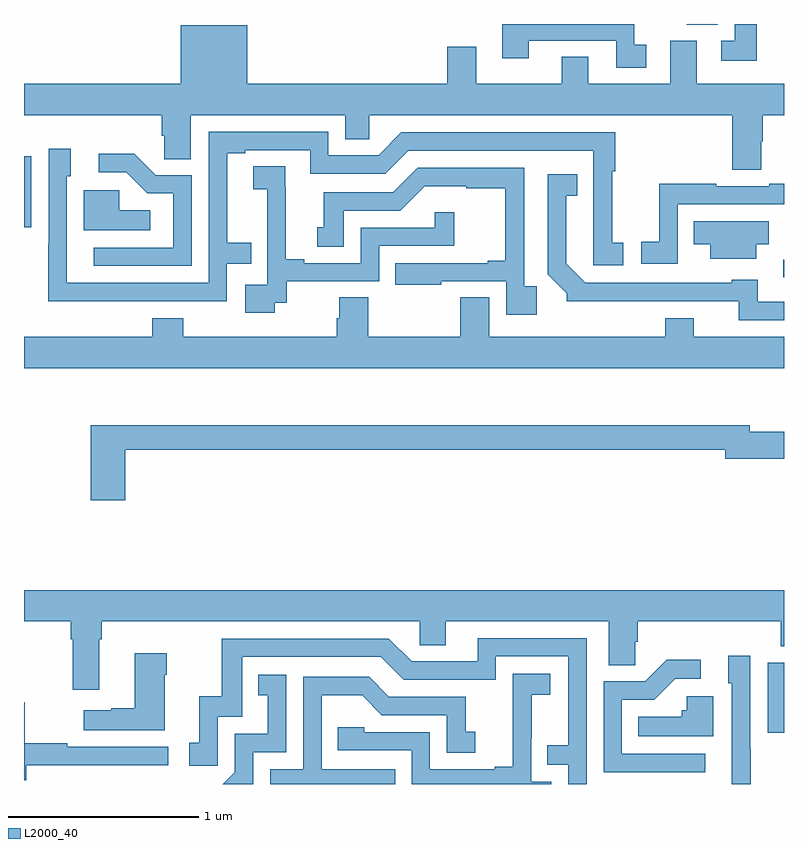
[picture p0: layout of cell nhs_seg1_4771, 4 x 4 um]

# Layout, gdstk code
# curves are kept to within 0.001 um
import gdstk
lib = gdstk.Library(unit=1e-6, precision=1e-09)
def R(c, l, rs):  # rectangles x0, y0, x1, y1
    for r in rs: c.add(gdstk.rectangle(r[:2], r[2:], *l))
def P(c, l, *ps):  # polygons
    for p in ps: c.add(gdstk.Polygon(p, *l))
L2000_40 = (2000, 40)

nhs_seg1_4771 = lib.new_cell('nhs_seg1_4771')
R(nhs_seg1_4771, L2000_40, [(372.915,560.469,373,560.838), (372.995,562.865,373,562.959), (369,563.13,369.039,563.502), (372.488,564.196,372.652,564.199)])
P(nhs_seg1_4771, L2000_40, [(372.857,564.199),(372.741,564.199),(372.741,564.111),(372.669,564.111),(372.669,564.006),(372.857,564.006)],
  [(372.274,564.09),(372.213,564.09),(372.213,564.199),(371.516,564.199),(371.516,564.018),(371.656,564.018),(371.656,564.111),(372.116,564.111),(372.116,563.97),(372.274,563.97)],
  [(372.88,563.582),(372.888,563.582),(372.888,563.72),(373,563.72),(373,563.884),(372.541,563.884),(372.541,564.111),(372.401,564.111),(372.401,563.884),(371.971,563.884),(371.971,564.026),(371.831,564.026),(371.831,563.884),(371.38,563.884),(371.38,564.079),(371.228,564.079),(371.228,563.884),(370.174,563.884),(370.174,564.193),(369.824,564.193),(369.824,563.884),(369,563.884),(369,563.72),(369.725,563.72),(369.725,563.611),(369.738,563.611),(369.738,563.488),(369.877,563.488),(369.877,563.72),(370.691,563.72),(370.691,563.593),(370.818,563.593),(370.818,563.72),(372.728,563.72),(372.728,563.431),(372.88,563.431)],
  [(369.59,562.74),(370.068,562.74),(370.068,562.938),(370.196,562.938),(370.196,563.047),(370.069,563.047),(370.069,563.52),(370.165,563.52),(370.165,563.535),(370.506,563.535),(370.506,563.412),(370.902,563.412),(371.022,563.532),(371.997,563.532),(371.996,562.929),(372.154,562.929),(372.154,563.049),(372.096,563.049),(372.096,563.425),(372.113,563.425),(372.113,563.628),(370.986,563.628),(370.866,563.508),(370.602,563.508),(370.602,563.631),(369.972,563.631),(369.972,562.836),(369.225,562.836),(369.225,563.397),(369.247,563.397),(369.247,563.542),(369.129,563.542),(369.128,562.739)],
  [(369.882,563.403),(369.693,563.403),(369.58,563.516),(369.393,563.516),(369.393,563.418),(369.537,563.418),(369.648,563.307),(369.786,563.307),(369.786,563.022),(369.366,563.022),(369.366,562.926),(369.882,562.926)],
  [(370.32,562.731),(370.382,562.731),(370.382,562.845),(370.869,562.845),(370.869,563.031),(371.264,563.031),(371.264,563.209),(371.163,563.209),(371.163,563.127),(370.773,563.127),(370.773,562.941),(370.474,562.941),(370.474,562.961),(370.378,562.961),(370.378,563.339),(370.376,563.339),(370.376,563.45),(370.206,563.45),(370.206,563.329),(370.28,563.329),(370.28,563.131),(370.281,563.131),(370.281,562.827),(370.164,562.827),(370.164,562.68),(370.32,562.68)],
  [(371.699,562.819),(371.634,562.819),(371.634,563.442),(371.073,563.442),(370.944,563.313),(370.577,563.313),(370.577,563.13),(370.544,563.13),(370.544,563.026),(370.684,563.026),(370.684,563.217),(370.98,563.217),(371.108,563.345),(371.327,563.345),(371.327,563.334),(371.533,563.334),(371.533,562.954),(371.441,562.954),(371.441,562.941),(370.954,562.941),(370.954,562.826),(371.197,562.826),(371.197,562.845),(371.538,562.845),(371.538,562.668),(371.699,562.668)],
  [(373,562.737),(372.862,562.737),(372.862,562.852),(372.726,562.852),(372.726,562.836),(371.955,562.836),(371.854,562.937),(371.854,563.294),(371.912,563.294),(371.912,563.407),(371.757,563.407),(371.757,562.882),(371.856,562.783),(371.856,562.739),(372.763,562.74),(372.763,562.641),(373,562.641)],
  [(372.441,563.25),(373,563.25),(373,563.359),(372.923,563.359),(372.923,563.346),(372.644,563.346),(372.644,563.359),(372.343,563.359),(372.343,563.054),(372.249,563.054),(372.249,562.938),(372.441,562.938)],
  [(369.664,563.218),(369.501,563.218),(369.501,563.325),(369.314,563.325),(369.314,563.114),(369.664,563.114)],
  [(372.853,563.039),(372.919,563.039),(372.919,563.161),(372.526,563.161),(372.526,563.039),(372.611,563.039),(372.611,562.964),(372.853,562.964)],
  [(373,562.552),(372.526,562.552),(372.526,562.651),(372.374,562.651),(372.374,562.552),(371.449,562.552),(371.449,562.76),(371.297,562.76),(371.297,562.552),(370.811,562.552),(370.811,562.76),(370.658,562.76),(370.658,562.65),(370.646,562.65),(370.646,562.552),(369.839,562.552),(369.839,562.651),(369.674,562.651),(369.674,562.552),(369,562.552),(369,562.388),(373,562.388)],
  [(369.533,561.958),(372.692,561.958),(372.692,561.911),(373,561.911),(373,562.053),(372.82,562.053),(372.82,562.087),(369.35,562.087),(369.35,561.693),(369.533,561.693)],
  [(369.397,560.96),(369.41,560.96),(369.41,561.056),(371.082,561.056),(371.082,560.929),(371.221,560.929),(371.221,561.056),(372.077,561.056),(372.077,560.824),(372.216,560.824),(372.216,560.947),(372.23,560.947),(372.23,561.056),(372.983,561.056),(372.983,560.923),(373,560.923),(373,561.22),(369,561.22),(369,561.056),(369.245,561.056),(369.245,560.96),(369.257,560.96),(369.257,560.694),(369.397,560.694)],
  [(371.961,560.967),(371.387,560.967),(371.387,560.844),(371.04,560.844),(370.92,560.964),(370.041,560.964),(370.041,560.662),(369.923,560.662),(369.923,560.415),(369.87,560.415),(369.87,560.295),(370.02,560.295),(370.02,560.553),(370.149,560.553),(370.149,560.868),(370.878,560.868),(370.998,560.748),(371.484,560.748),(371.484,560.871),(371.865,560.871),(371.865,560.402),(371.755,560.402),(371.755,560.301),(371.865,560.301),(371.865,560.199),(371.961,560.199)],
  [(369.742,560.774),(369.75,560.774),(369.75,560.887),(369.584,560.887),(369.584,560.597),(369.458,560.597),(369.458,560.587),(369.315,560.587),(369.315,560.483),(369.742,560.483)],
  [(372.825,560.381),(372.822,560.381),(372.822,560.875),(372.707,560.875),(372.707,560.73),(372.726,560.73),(372.726,560.199),(372.825,560.199)],
  [(372.586,560.358),(372.147,560.358),(372.147,560.643),(372.316,560.643),(372.427,560.754),(372.562,560.754),(372.562,560.852),(372.383,560.852),(372.27,560.739),(372.051,560.739),(372.051,560.262),(372.586,560.262)],
  [(371.775,560.211),(371.67,560.211),(371.67,560.441),(371.672,560.441),(371.672,560.669),(371.77,560.669),(371.77,560.779),(371.572,560.779),(371.572,560.573),(371.573,560.573),(371.573,560.29),(371.477,560.29),(371.477,560.277),(371.136,560.277),(371.136,560.472),(370.791,560.472),(370.791,560.499),(370.651,560.499),(370.651,560.376),(371.04,560.376),(371.04,560.199),(371.775,560.199)],
  [(370.206,560.367),(370.38,560.367),(370.38,560.773),(370.234,560.773),(370.234,560.667),(370.283,560.667),(370.283,560.463),(370.11,560.463),(370.11,560.262),(370.047,560.199),(370.206,560.199)],
  [(370.955,560.277),(370.566,560.277),(370.566,560.666),(370.78,560.666),(370.884,560.562),(371.226,560.562),(371.226,560.364),(371.374,560.364),(371.374,560.473),(371.325,560.473),(371.325,560.658),(370.921,560.658),(370.816,560.763),(370.47,560.763),(370.47,560.277),(370.296,560.277),(370.296,560.199),(370.955,560.199)],
  [(372.628,560.662),(372.489,560.662),(372.489,560.586),(372.463,560.586),(372.463,560.554),(372.232,560.554),(372.232,560.45),(372.628,560.45)],
  [(369.011,560.298),(369.76,560.298),(369.76,560.394),(369.227,560.394),(369.227,560.414),(369.004,560.414),(369.004,560.628),(369,560.628),(369,560.22),(369.011,560.22)])

lib.write_gds('nhs_seg1_4771.gds')
